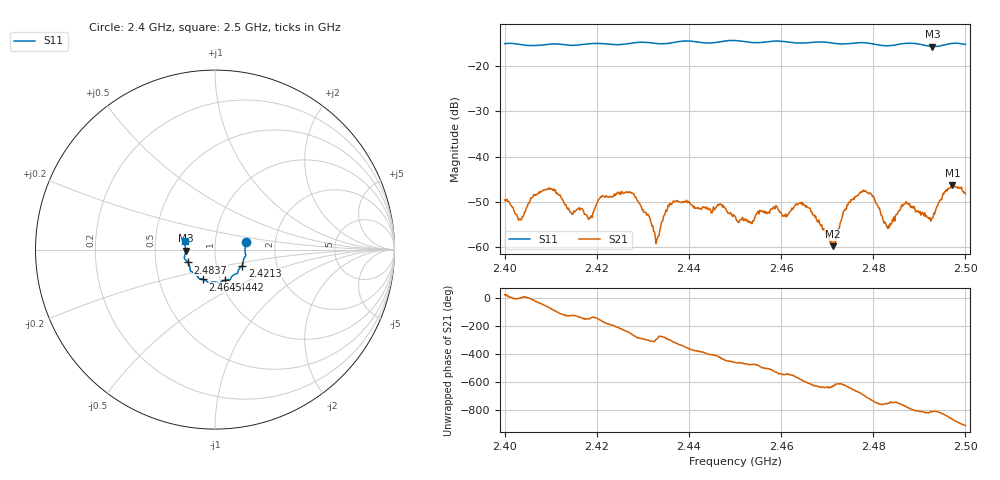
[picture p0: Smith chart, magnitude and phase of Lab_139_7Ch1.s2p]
# Hz S RI R
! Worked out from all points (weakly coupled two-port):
!   601 points, 2.4 GHz to 2.5 GHz, reference 50 ohm
!   highest |S21| = -46.29 dB at 2.4972 GHz (marker M1); lowest = -59.7 dB at 2.4712 GHz (marker M2)
!   lowest |S11| = -15.7 dB at 2.4928 GHz (marker M3), VSWR 1.39, Z = 35.9 - j0.377 ohm
!   |S11| at or under -10 dB: start of sweep to end of sweep
!   S12 and S22 are empty: the file has one direction only
!   S11 on the Smith chart (normalised r, x): 2.4 GHz: 1.41, +0.12; 2.4213 GHz: 1.33, -0.25; 2.4442 GHz: 1.05, -0.37; 2.4645 GHz: 0.83, -0.29; 2.4837 GHz: 0.73, -0.11; 2.5 GHz: 0.71, +0.07
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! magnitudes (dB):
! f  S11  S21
! 2.4 GHz  -15.1  -49.5
! 2.4033 GHz  -15.2  -53.7
! 2.4097 GHz  -15.2  -46.9
! 2.4167 GHz  -15.3  -51.4
! 2.4185 GHz  -15.1  -53.4
! 2.4213 GHz  -15.1  -48.7
! 2.4277 GHz  -15.0  -48.0
! 2.4333 GHz  -15.1  -57.5
! 2.4363 GHz  -14.9  -50.4
! 2.4442 GHz  -15.0  -51.3
! 2.45 GHz  -14.4  -53.1
! 2.4645 GHz  -15.0  -50.0
! 2.4667 GHz  -14.8  -52.2
! 2.4712 GHz  -15.0  -59.7
! 2.4742 GHz  -15.1  -51.6
! 2.4778 GHz  -14.9  -47.4
! 2.4833 GHz  -15.6  -55.1
! 2.4837 GHz  -15.5  -54.7
! 2.487 GHz  -15.0  -50.1
! 2.4928 GHz  -15.7  -53.6
! 2.4972 GHz  -15.0  -46.3
! 2.5 GHz  -15.3  -48.2
